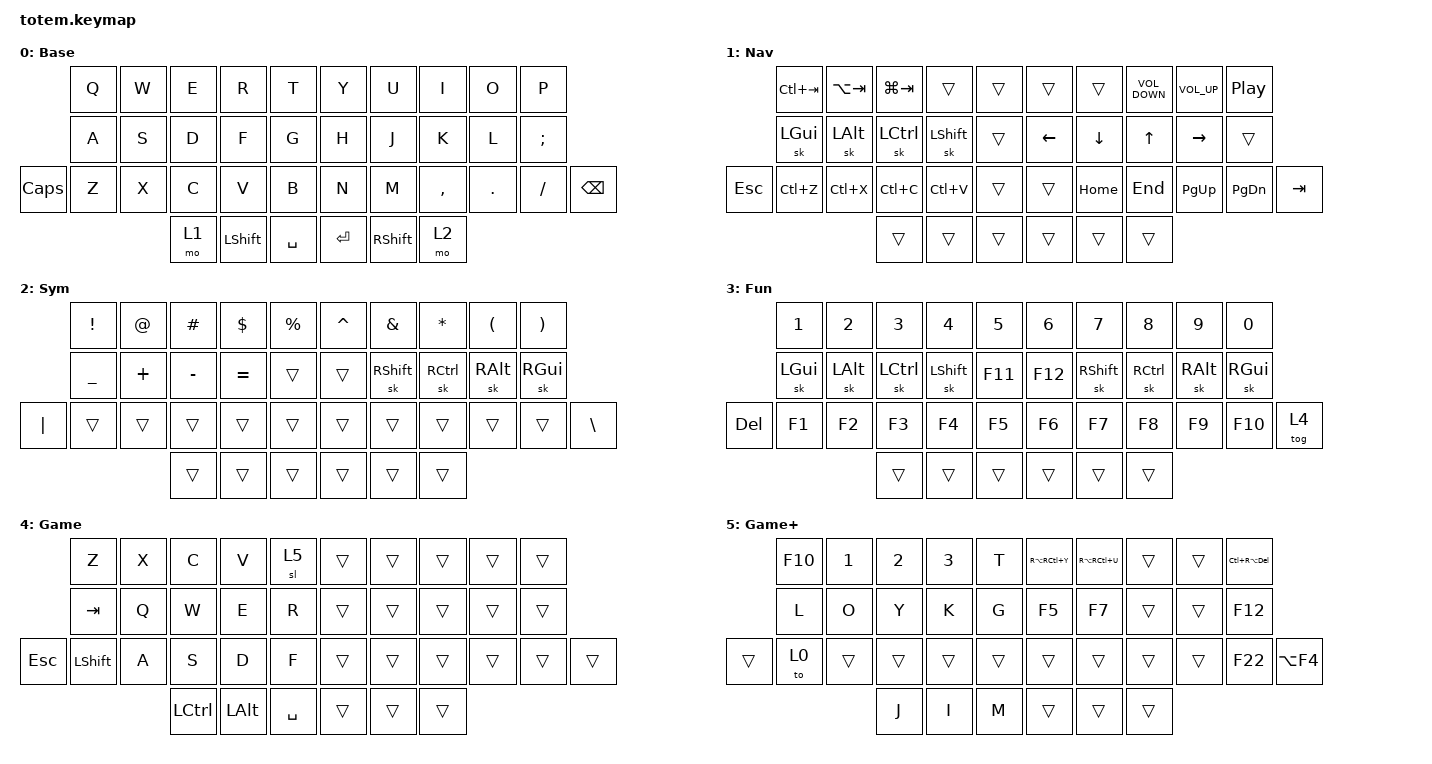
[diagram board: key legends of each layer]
//
//                                                        ▀▀▀▀▀     ▀▀▀▀▀          ▀▀█▀▀
//                                                        ▄▀▀▀▄  ▄  ▄▀▀▀▄  ▄  ▄▀▀▀▄  █  ▄▀▀▀▄
//                                                        █   █  █  █   █  █  █   █  █  █   █
//                                                         ▀▀▀   █   ▀▀▀   █   ▀▀▀   ▀   ▀▀▀
//                                                               █      ▄▄▄█▄▄▄    █   █  
//                                                               ▀      █  █  █     █▄█
//                                                             ▀▀▀▀▀    █  █  █      ▀
//                                                                      ▀  ▀  ▀
//
// ▄▄▄▄▄▄▄▄▄▄▄▄▄▄▄▄▄▄▄▄▄▄▄▄▄▄▄▄▄▄▄▄▄▄▄▄▄▄▄▄▄▄▄▄▄▄▄▄▄▄▄▄▄▄▄▄▄▄▄▄▄▄▄▄▄▄▄▄▄▄▄▄▄▄▄▄▄▄▄▄▄▄▄▄▄▄▄▄▄▄▄▄▄▄▄▄▄▄▄▄▄▄▄▄▄▄▄▄▄▄▄▄▄▄▄▄▄▄▄▄▄▄▄▄▄▄▄▄▄▄▄▄▄▄▄▄▄▄▄▄▄▄▄▄▄▄▄▄▄

#include <behaviors.dtsi>
#include <dt-bindings/zmk/keys.h>

#define Base        0
#define Nav         1
#define Sym         2
#define Fun         3
#define Game        4
#define Gameplus    5

&mt {
    quick-tap-ms = <100>;
    global-quick-tap;
    flavor = "tap-preferred";
    tapping-term-ms = <170>;
};

&lt {
    tapping-term-ms = <240>;
    flavor = "balanced";
    quick-tap-ms = <150>;
};

/ {
    behaviors {
        hm: homerow_mods {
            compatible = "zmk,behavior-hold-tap";
            label = "HOMEROW_MODS";
            #binding-cells = <2>;
            flavor = "tap-preferred";
            tapping-term-ms = <200>;
            quick-tap-ms = <125>;
            global-quick-tap;
            bindings = <&kp>, <&kp>;
        };
    };

    combos {
        compatible = "zmk,combos";

        Tilde {
            bindings = <&kp GRAVE>;
            key-positions = <0 1>;
        };

        LBracket {
            bindings = <&kp LEFT_BRACKET>;
            key-positions = <8 9>;
        };

        RBracket {
            bindings = <&kp RIGHT_BRACKET>;
            key-positions = <30 29>;
        };

        Apostrophe {
            bindings = <&kp SQT>;
            key-positions = <19 18>;
        };
    };

    keymap {
        compatible = "zmk,keymap";

        Base {
            display-name = "Base";
            bindings = <
              &kp Q  &kp W  &kp E  &kp R           &kp T        &kp Y    &kp U            &kp I      &kp O    &kp P
              &kp A  &kp S  &kp D  &kp F           &kp G        &kp H    &kp J            &kp K      &kp L    &kp SEMICOLON
&kp CAPSLOCK  &kp Z  &kp X  &kp C  &kp V           &kp B        &kp N    &kp M            &kp COMMA  &kp DOT  &kp SLASH      &kp BACKSPACE
                            &mo 1  &kp LEFT_SHIFT  &kp SPACE    &kp RET  &kp RIGHT_SHIFT  &mo 2
            >;
        };

        Nav {
            display-name = "Nav";
            bindings = <
            &kp LC(TAB)   &kp LA(TAB)   &kp LG(TAB)       &trans          &trans    &trans    &trans          &kp C_VOLUME_DOWN  &kp C_VOLUME_UP  &kp C_PLAY_PAUSE
            &sk LEFT_GUI  &sk LEFT_ALT  &sk LEFT_CONTROL  &sk LEFT_SHIFT  &trans    &kp LEFT  &kp DOWN_ARROW  &kp UP_ARROW       &kp RIGHT        &trans
&kp ESCAPE  &kp LC(Z)     &kp LC(X)     &kp LC(C)         &kp LC(V)       &trans    &trans    &kp HOME        &kp END            &kp PAGE_UP      &kp PAGE_DOWN     &kp TAB
                                        &trans            &trans          &trans    &trans    &trans          &trans
            >;
        };

        Sym {
            display-name = "Sym";
            bindings = <
          &kp EXCL        &kp AT    &kp HASH   &kp DOLLAR  &kp PERCENT    &kp CARET  &kp AMPERSAND    &kp ASTERISK       &kp LEFT_PARENTHESIS  &kp RIGHT_PARENTHESIS
          &kp UNDERSCORE  &kp PLUS  &kp MINUS  &kp EQUAL   &trans         &trans     &sk RIGHT_SHIFT  &sk RIGHT_CONTROL  &sk RIGHT_ALT         &sk RIGHT_GUI
&kp PIPE  &trans          &trans    &trans     &trans      &trans         &trans     &trans           &trans             &trans                &trans                 &kp BACKSLASH
                                    &trans     &trans      &trans         &trans     &trans           &trans
            >;
        };

        Fun {
            display-name = "Fun";
            bindings = <
            &kp NUMBER_1  &kp NUMBER_2  &kp NUMBER_3      &kp NUMBER_4    &kp N5     &kp NUMBER_6  &kp N7           &kp N8             &kp N9         &kp N0
            &sk LEFT_GUI  &sk LEFT_ALT  &sk LEFT_CONTROL  &sk LEFT_SHIFT  &kp F11    &kp F12       &sk RIGHT_SHIFT  &sk RIGHT_CONTROL  &sk RIGHT_ALT  &sk RIGHT_GUI
&kp DELETE  &kp F1        &kp F2        &kp F3            &kp F4          &kp F5     &kp F6        &kp F7           &kp F8             &kp F9         &kp F10        &tog 4
                                        &trans            &trans          &trans     &trans        &trans           &trans
            >;
        };

        Gaming {
            display-name = "Game";
            bindings = <
            &kp Z           &kp X  &kp C      &kp V         &sl 5        &trans  &trans  &trans  &trans  &trans
            &kp TAB         &kp Q  &kp W      &kp E         &kp R        &trans  &trans  &trans  &trans  &trans
&kp ESCAPE  &kp LEFT_SHIFT  &kp A  &kp S      &kp D         &kp F        &trans  &trans  &trans  &trans  &trans  &trans
                                   &kp LCTRL  &kp LEFT_ALT  &kp SPACE    &trans  &trans  &trans
            >;
        };

        Gaming+ {
            display-name = "Game+";
            bindings = <
        &kp F10  &kp NUMBER_1  &kp NUMBER_2  &kp NUMBER_3  &kp T     &kp RA(RC(Y))  &kp RA(RC(U))  &trans  &trans  &kp LC(RA(DEL))
        &kp L    &kp O         &kp Y         &kp K         &kp G     &kp F5         &kp F7         &trans  &trans  &kp F12
&trans  &to 0    &trans        &trans        &trans        &trans    &trans         &trans         &trans  &trans  &kp F22          &kp LA(F4)
                               &kp J         &kp I         &kp M     &trans         &trans         &trans
            >;
        };
    };

    conditional_layers {
        compatible = "zmk,conditional-layers";

        Fun {
            if-layers = <1 2>;
            then-layer = <3>;
        };
    };
};
